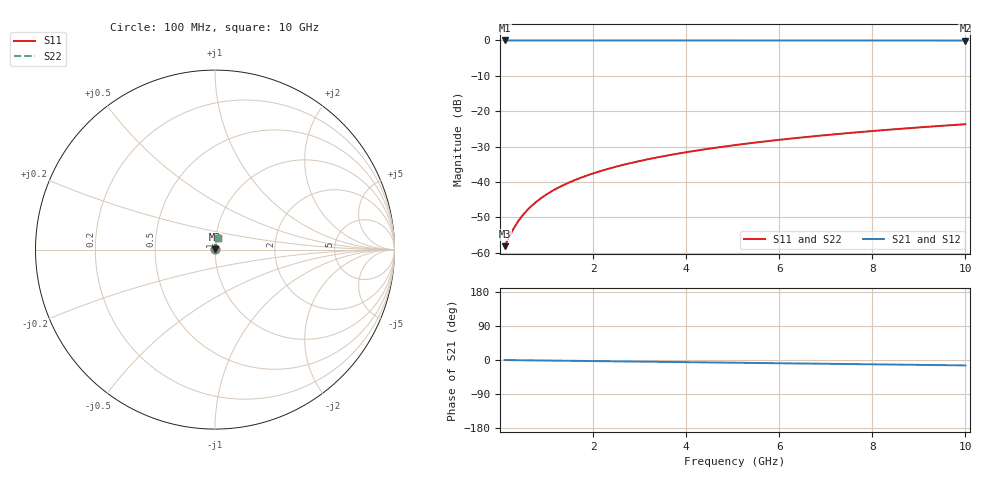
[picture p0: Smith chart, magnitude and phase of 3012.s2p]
# Hz S RI R 50.00
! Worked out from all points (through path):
!   100 points, 100 MHz to 10 GHz, reference 50 ohm
!   highest |S21| = -0.01 dB at 100 MHz (marker M1); lowest = 0.0 dB at 10 GHz (marker M2)
!   group delay of S21, straight-line fit = 3.96 ps
!   lowest |S11| = -58.1 dB at 100 MHz (marker M3), VSWR 1.00, Z = 50.1 + j0.0658 ohm
!   |S11| at or under -10 dB: start of sweep to end of sweep
!   |S22| runs from -58.1 to -23.7 dB; largest |S21 - S12| = 0
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1e8  0.00105 0.000657  0.9989 -0.00247  0.9989 -0.00247  0.00105 0.000657
2e8  0.00107 0.00131  0.9989 -0.00495  0.9989 -0.00495  0.00107 0.00131
3e8  0.00108 0.00197  0.9989 -0.00742  0.9989 -0.00742  0.00108 0.00197
4e8  0.00109 0.00263  0.9989 -0.00989  0.9989 -0.00989  0.00109 0.00263
5e8  0.00111 0.00328  0.9988 -0.0124  0.9988 -0.0124  0.00111 0.00328
6e8  0.00113 0.00394  0.9988 -0.0148  0.9988 -0.0148  0.00113 0.00394
7e8  0.00115 0.0046  0.9988 -0.0173  0.9988 -0.0173  0.00115 0.0046
9e8  0.00121 0.00591  0.9986 -0.0223  0.9986 -0.0223  0.00121 0.00591
1e9  0.00124 0.00656  0.9986 -0.0247  0.9986 -0.0247  0.00124 0.00656
1.2e9  0.00132 0.00787  0.9984 -0.0297  0.9984 -0.0297  0.00132 0.00787
1.5e9  0.00145 0.00984  0.9981 -0.0371  0.9981 -0.0371  0.00145 0.00984
1.8e9  0.00162 0.0118  0.9978 -0.0445  0.9978 -0.0445  0.00162 0.0118
2.1e9  0.00181 0.0138  0.9974 -0.0519  0.9974 -0.0519  0.00181 0.0138
2.5e9  0.00211 0.0164  0.9968 -0.0618  0.9968 -0.0618  0.00211 0.0164
2.9e9  0.00246 0.019  0.9961 -0.0717  0.9961 -0.0717  0.00246 0.019
3.4e9  0.00298 0.0222  0.995 -0.0841  0.995 -0.0841  0.00298 0.0222
4.2e9  0.00397 0.0274  0.993 -0.1038  0.993 -0.1038  0.00397 0.0274
5.1e9  0.00533 0.0331  0.9903 -0.126  0.9903 -0.126  0.00533 0.0331
5.9e9  0.00675 0.0382  0.9874 -0.1457  0.9874 -0.1457  0.00675 0.0382
6.7e9  0.00838 0.0432  0.984 -0.1653  0.984 -0.1653  0.00838 0.0432
8.4e9  0.0125 0.0537  0.9755 -0.2068  0.9755 -0.2068  0.0125 0.0537
1e10  0.0172 0.0632  0.9658 -0.2456  0.9658 -0.2456  0.0172 0.0632
